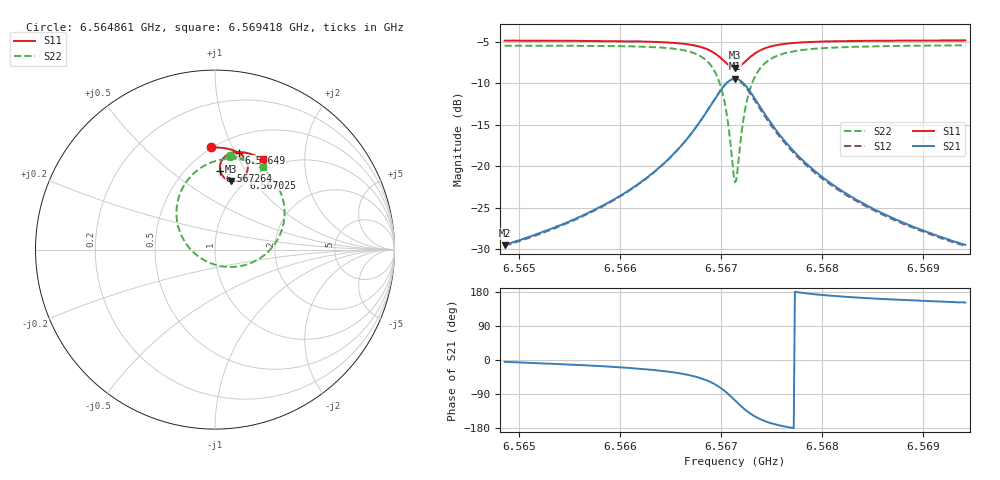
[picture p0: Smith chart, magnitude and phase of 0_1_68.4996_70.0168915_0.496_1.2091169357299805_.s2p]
#  HZ  S  RI  R  50.00
! Rohde & Schwarz Vector Network Analyzer
! Rohde-Schwarz,ZNB20-2Port,1311601062101988,3.16
! Created: UTC 3/20/2024, 4:48:34 PM
! freq[Hz]  re:S11  im:S11  re:S21  im:S21  re:S12  im:S12  re:S22  im:S22
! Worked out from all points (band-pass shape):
!   401 points, 6.564861 GHz to 6.569418 GHz, reference 50 ohm
!   highest |S21| = -9.48 dB at 6.567139 GHz (marker M1); lowest = -29.5 dB at 6.564861 GHz (marker M2)
!   |S21| within 3 dB of the highest: 6.566912 GHz to 6.567367 GHz (455.4 kHz wide, 0.00693 % of centre)
!   lowest |S11| = -8.2 dB at 6.567139 GHz (marker M3), VSWR 2.28, Z = 43.3 + j38.9 ohm
!   |S11| at or under -10 dB: nowhere
!   |S22| runs from -22.0 to -5.4 dB; largest |S21 - S12| = 0.018
!   S11 on the Smith chart (normalised r, x): 6.564861 GHz: 0.49, +0.83; 6.56649 GHz: 0.67, +1.04; 6.567025 GHz: 0.94, +0.93; 6.567264 GHz: 0.71, +0.77; 6.569418 GHz: 0.86, +1.28
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6.5648607e9  -0.0219 0.569  0.0332 -0.00276  0.0329 -0.00328  0.0837 0.5236
6.565624e9  0.0432 0.5664  0.0485 -0.0117  0.0479 -0.0124  0.1642 0.5039
6.5660227e9  0.081 0.5596  0.0634 -0.0227  0.0624 -0.0233  0.2184 0.4799
6.5663873e9  0.1211 0.5454  0.0864 -0.0455  0.0852 -0.0465  0.2854 0.4329
6.5664898e9  0.1338 0.5382  0.0954 -0.0575  0.0941 -0.0587  0.3091 0.4091
6.5666949e9  0.1619 0.514  0.1169 -0.0996  0.115 -0.1019  0.362 0.3267
6.5668543e9  0.1805 0.4754  0.126 -0.1681  0.1224 -0.1722  0.3877 0.1942
6.5669569e9  0.1788 0.434  0.1041 -0.2409  0.0969 -0.2463  0.3484 0.0557
6.5670252e9  0.1597 0.4022  0.056 -0.2953  0.0442 -0.2992  0.257 -0.0441
6.5670822e9  0.128 0.3826  -0.0124 -0.3256  -0.0281 -0.3251  0.128 -0.0943
6.5671164e9  0.1038 0.3789  -0.0624 -0.3283  -0.0788 -0.3236  0.0369 -0.0931
6.5671392e9  0.087 0.381  -0.0961 -0.3218  -0.1119 -0.3142  -0.023 -0.0765
6.5671619e9  0.0712 0.3865  -0.1279 -0.3088  -0.1424 -0.2983  -0.0777 -0.0484
6.5672189e9  0.0408 0.4126  -0.1886 -0.255  -0.1973 -0.2404  -0.176 0.0564
6.5672645e9  0.0292 0.4389  -0.2131 -0.2032  -0.2169 -0.1883  -0.2101 0.1508
6.5673556e9  0.0319 0.4844  -0.2147 -0.1153  -0.2127 -0.1039  -0.1973 0.3045
6.5674923e9  0.0595 0.5222  -0.1774 -0.0424  -0.1732 -0.0364  -0.1168 0.4262
6.5676518e9  0.0918 0.5389  -0.1364 -0.00806  -0.1328 -0.00489  -0.0325 0.4807
6.5679024e9  0.1309 0.5444  -0.0957 0.00984  -0.0933 0.0112  0.0564 0.5046
6.568267e9  0.173 0.5395  -0.0647 0.0159  -0.063 0.0167  0.135 0.504
6.5686657e9  0.2099 0.5291  -0.0467 0.0169  -0.0456 0.0172  0.1919 0.4922
6.5694176e9  0.269 0.5037  -0.0295 0.0158  -0.0287 0.016  0.2675 0.4621
